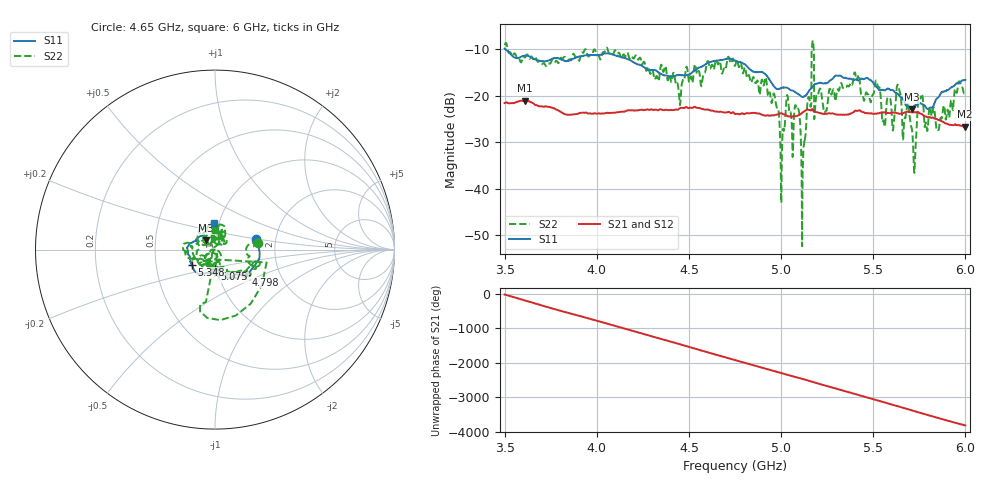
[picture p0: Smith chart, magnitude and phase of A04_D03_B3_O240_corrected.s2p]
! Created with skrf 1.9.0 (http://scikit-rf.org).
# Hz S RI R 50.0
!freq ReS11 ImS11 ReS21 ImS21 ReS12 ImS12 ReS22 ImS22
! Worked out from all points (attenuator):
!   1601 points, 3.5 GHz to 6 GHz, reference 50 ohm
!   highest |S21| = -21.05 dB at 3.611 GHz (marker M1); lowest = -26.7 dB at 5.997 GHz (marker M2)
!   lowest |S11| = -23.0 dB at 5.708 GHz (marker M3), VSWR 1.15, Z = 45.1 + j4.72 ohm
!   |S11| at or under -10 dB: 3.506 GHz to end of sweep
!   |S22| runs from -52.4 to -8.1 dB; largest |S21 - S12| = 0.001
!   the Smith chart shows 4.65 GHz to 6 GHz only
!   S11 on the Smith chart (normalised r, x): 4.65 GHz: 1.58, +0.20; 4.798 GHz: 1.35, -0.39; 5.075 GHz: 0.98, -0.22; 5.348 GHz: 0.76, -0.13; 6 GHz: 0.94, +0.29
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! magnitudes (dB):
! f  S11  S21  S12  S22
! 3.5 GHz  -9.8  -21.6  -21.6  -9.1
! 3.611 GHz  -11.3  -21.1  -21.1  -11.8
! 3.917 GHz  -11.5  -23.7  -23.7  -10.8
! 4.334 GHz  -15.0  -23.1  -23.1  -16.9
! 4.65 GHz  -12.5  -23.4  -23.4  -12.3
! 4.75 GHz  -12.4  -23.9  -23.9  -13.6
! 4.798 GHz  -13.1  -24.0  -23.9  -14.5
! 4.967 GHz  -18.2  -24.1  -24.1  -20.5
! 5.005 GHz  -18.2  -23.8  -23.8  -31.9
! 5.034 GHz  -18.3  -24.4  -24.3  -19.9
! 5.075 GHz  -19.2  -24.4  -24.3  -22.2
! 5.122 GHz  -20.2  -23.5  -23.4  -31.0
! 5.167 GHz  -18.2  -22.9  -22.9  -9.9
! 5.239 GHz  -17.3  -23.9  -23.9  -23.5
! 5.348 GHz  -16.2  -24.1  -24.1  -18.1
! 5.584 GHz  -18.5  -23.7  -23.7  -20.5
! 5.708 GHz  -23.0  -23.6  -23.5  -26.8
! 5.725 GHz  -22.1  -23.6  -23.5  -35.1
! 5.756 GHz  -21.6  -23.8  -23.8  -20.6
! 5.85 GHz  -20.4  -25.2  -25.1  -27.2
! 5.997 GHz  -16.6  -26.7  -26.6  -19.4
! 6 GHz  -16.6  -26.7  -26.6  -19.2
